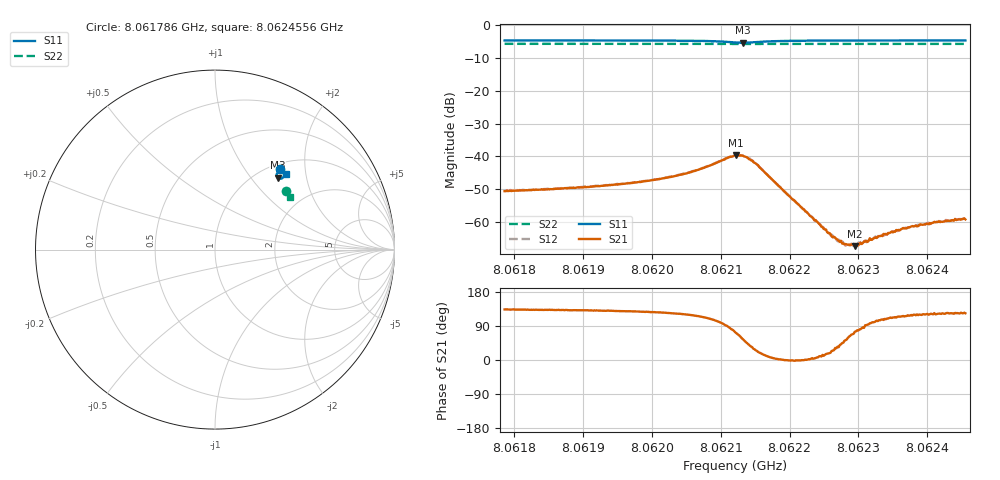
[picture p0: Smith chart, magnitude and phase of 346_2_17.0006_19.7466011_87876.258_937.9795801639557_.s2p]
#  HZ  S  RI  R  50.00
! Rohde & Schwarz Vector Network Analyzer
! Rohde-Schwarz,ZNB20-2Port,1311601062101988,3.16
! Created: UTC 3/20/2024, 11:07:38 PM
! freq[Hz]  re:S11  im:S11  re:S21  im:S21  re:S12  im:S12  re:S22  im:S22
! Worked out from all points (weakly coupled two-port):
!   401 points, 8.061786 GHz to 8.0624556 GHz, reference 50 ohm
!   highest |S21| = -39.64 dB at 8.0621225 GHz (marker M1); lowest = -67.2 dB at 8.0622949 GHz (marker M2)
!   lowest |S11| = -5.5 dB at 8.0621325 GHz (marker M3), VSWR 3.27, Z = 61.6 + j68.7 ohm
!   |S11| at or under -10 dB: nowhere
!   |S22| runs from -5.9 to -5.8 dB; largest |S21 - S12| = 0.00077
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8.06178599e9  0.3632 0.447  -0.00204 0.00216  -0.00192 0.00227  0.3959 0.3246
8.06189815e9  0.3709 0.4402  -0.00224 0.00255  -0.00212 0.00271  0.4002 0.3189
8.06195674e9  0.3753 0.436  -0.00241 0.00296  -0.00223 0.00315  0.4023 0.316
8.06201031e9  0.3797 0.4306  -0.00264 0.00366  -0.00242 0.00387  0.4043 0.3131
8.06205886e9  0.3837 0.4216  -0.00279 0.00521  -0.00249 0.00544  0.406 0.3105
8.06212079e9  0.3648 0.3949  0.00291 0.00988  0.00342 0.00979  0.4069 0.3067
8.06212247e9  0.3627 0.3949  0.00334 0.00988  0.00393 0.0097  0.4069 0.3065
8.06213251e9  0.3506 0.3999  0.00592 0.00831  0.00657 0.00795  0.4068 0.3065
8.06214088e9  0.3445 0.409  0.00695 0.00594  0.00752 0.0056  0.4069 0.3066
8.0621526e9  0.3446 0.422  0.00691 0.00308  0.0071 0.00261  0.4075 0.3066
8.06223295e9  0.3728 0.4345  0.00118 0.000103  0.0012 -1.97e-05  0.4118 0.303
8.06225974e9  0.3769 0.4328  0.00062 0.000221  0.000598 0.000204  0.4129 0.3015
8.06227145e9  0.3784 0.4321  0.000435 0.00029  0.000444 0.00032  0.4133 0.3009
8.06227982e9  0.3793 0.4316  0.000294 0.000358  0.000311 0.000345  0.4135 0.3005
8.06229489e9  0.381 0.4307  0.000117 0.000419  0.000169 0.000424  0.414 0.2997
8.06230158e9  0.3816 0.4303  7.5e-05 0.000468  0.000121 0.000442  0.4144 0.2993
8.06234511e9  0.3855 0.4275  -0.000243 0.000642  -0.000217 0.000667  0.416 0.2972
8.06236352e9  0.387 0.4264  -0.000341 0.000725  -0.000289 0.000738  0.4166 0.2962
8.06237524e9  0.3878 0.4259  -0.00039 0.000756  -0.000333 0.000773  0.4169 0.2957
8.06239868e9  0.3895 0.4244  -0.000483 0.000808  -0.000442 0.000853  0.4178 0.2942
8.06241374e9  0.3906 0.4235  -0.000523 0.000866  -0.000493 0.000891  0.4183 0.2936
8.06245559e9  0.3932 0.4212  -0.000607 0.000927  -0.000596 0.000979  0.4197 0.2914
